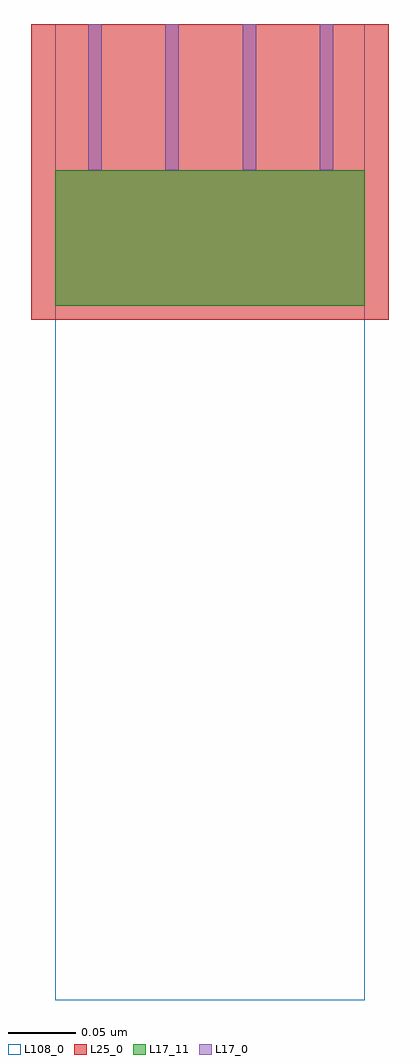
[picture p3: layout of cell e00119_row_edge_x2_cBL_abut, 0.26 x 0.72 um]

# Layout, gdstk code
import gdstk
lib = gdstk.Library(unit=1e-6, precision=1e-09)
def R(c, l, rs):  # rectangles x0, y0, x1, y1
    for r in rs: c.add(gdstk.rectangle(r[:2], r[2:], *l))
L17_0 = (17, 0)
L17_11 = (17, 11)
L25_0 = (25, 0)
L108_0 = (108, 0)

esi_n7ff_poly_grid_nofb = lib.new_cell('esi_n7ff_poly_grid_noFB')
esi_n7ff_poly_grid_nofb.add(gdstk.FlexPath([(0.029,0.298),(0.029,0.19)], 0.01, ends="flush", simple_path=True, layer=17, datatype=0))  # L17_0

e00119_row_edge_x2_cbl_a = lib.new_cell('e00119_row_edge_x2_cBL_abut')
R(e00119_row_edge_x2_cbl_a, L17_11, [(0,0.512,0.228,0.612)])
R(e00119_row_edge_x2_cbl_a, L25_0, [(-0.018,0.502,0.246,0.72)])
R(e00119_row_edge_x2_cbl_a, L108_0, [(0,0,0.228,0.72)])
r = gdstk.Reference(esi_n7ff_poly_grid_nofb, (0,0.91), x_reflection=True); r.repetition = gdstk.Repetition(4, 1, v1=(0.057,0), v2=(0,0)); e00119_row_edge_x2_cbl_a.add(r)

lib.write_gds('e00119_row_edge_x2_cBL_abut.gds')
